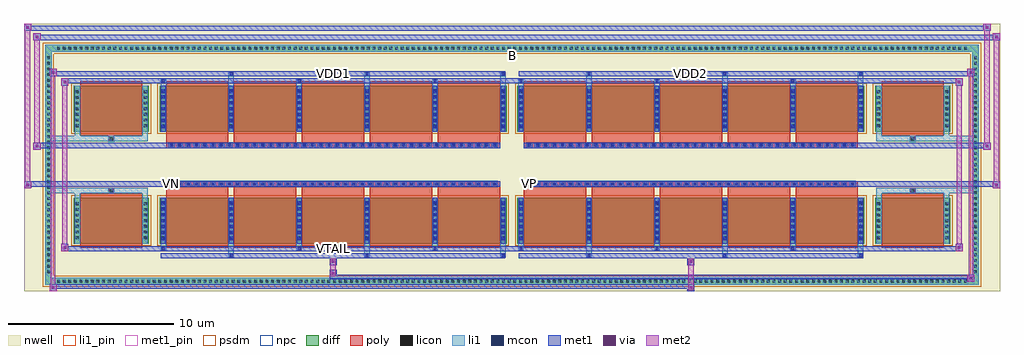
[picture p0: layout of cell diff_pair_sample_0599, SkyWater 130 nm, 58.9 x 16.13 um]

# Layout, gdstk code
import gdstk
lib = gdstk.Library(unit=1e-6, precision=5e-09)
def R(c, l, rs):  # rectangles x0, y0, x1, y1
    for r in rs: c.add(gdstk.rectangle(r[:2], r[2:], *l))
def A(c, l, x, y, w, h, nx, ny, dx, dy):  # array of equal rectangles
    R(c, l, [(x+i*dx, y+j*dy, x+i*dx+w, y+j*dy+h) for i in range(nx) for j in range(ny)])
def P(c, l, *ps):  # polygons
    for p in ps: c.add(gdstk.Polygon(p, *l))
nwell = (64, 20)
diff = (65, 20)
poly = (66, 20)
licon = (66, 44)
li1_pin = (67, 16)
li1 = (67, 20)
mcon = (67, 44)
met1_pin = (68, 16)
met1 = (68, 20)
via = (68, 44)
met2 = (69, 20)
psdm = (94, 20)
npc = (95, 20)

diff_pair_sample_0599 = lib.new_cell('diff_pair_sample_0599')
R(diff_pair_sample_0599, nwell, [(-29.45,-7.63,29.45,8.5), (-26.77,-5.82,-0.01,-0.8), (0.01,-5.82,26.77,-0.8), (-26.77,0.8,-0.01,5.82), (0.01,0.8,26.77,5.82)])
A(diff_pair_sample_0599, diff, -27.575, -7.23, 0.41, 0.41, 162, 2, 0.34, 14.05)
A(diff_pair_sample_0599, diff, -28.18, -6.665, 0.41, 0.41, 1, 39, 0, 0.34)
A(diff_pair_sample_0599, diff, 27.77, -6.665, 0.41, 0.41, 1, 39, 0, 0.34)
R(diff_pair_sample_0599, diff, [(-27.575,-7.23,27.575,-6.82), (-28.18,-6.665,-27.77,6.665), (27.77,-6.665,28.18,6.665), (-26.46,-4.775,-21.91,-1.985), (-21.27,-4.775,-0.32,-1.985), (0.32,-4.775,21.27,-1.985), (21.91,-4.775,26.46,-1.985), (-26.46,1.985,-21.91,4.775), (-21.27,1.985,-0.32,4.775), (0.32,1.985,21.27,4.775), (21.91,1.985,26.46,4.775), (-27.575,6.82,27.575,7.23)])
P(diff_pair_sample_0599, diff, [(28.18,7.23),(-28.18,7.23),(-28.18,-6.82),(-27.77,-6.82),(-27.77,6.82),(27.77,6.82),(27.77,-6.82),(-27.77,-6.82),(-28.18,-6.82),(-28.18,-7.23),(28.18,-7.23)])
A(diff_pair_sample_0599, poly, -20.88, -5.025, 3.77, 3.29, 5, 2, 4.1, 6.76)
A(diff_pair_sample_0599, poly, 0.71, -5.025, 3.77, 3.29, 5, 2, 4.1, 6.76)
A(diff_pair_sample_0599, poly, -20.88, -1.735, 3.77, 0.405, 5, 2, 4.1, 3.065)
A(diff_pair_sample_0599, poly, 0.71, -1.735, 3.77, 0.405, 5, 2, 4.1, 3.065)
A(diff_pair_sample_0599, poly, -20.71, -1.33, 0.33, 0.33, 40, 2, 0.5, 2.33)
A(diff_pair_sample_0599, poly, 0.88, -1.33, 0.33, 0.33, 40, 2, 0.5, 2.33)
R(diff_pair_sample_0599, poly, [(-26.07,-5.025,-22.3,-1.735), (22.3,-5.025,26.07,-1.735), (-24.35,-1.735,-24.02,-1.405), (-24.35,-1.735,-24.02,-1.405), (24.02,-1.735,24.35,-1.405), (24.02,-1.735,24.35,-1.405), (-20.88,-1.33,-0.71,-1), (0.71,-1.33,20.88,-1), (-20.88,1,-0.71,1.33), (0.71,1,20.88,1.33), (-24.35,1.405,-24.02,1.735), (-24.35,1.405,-24.02,1.735), (24.02,1.405,24.35,1.735), (24.02,1.405,24.35,1.735), (-26.07,1.735,-22.3,5.025), (22.3,1.735,26.07,5.025)])
A(diff_pair_sample_0599, licon, -27.455, -7.11, 0.17, 0.17, 162, 2, 0.34, 14.05)
A(diff_pair_sample_0599, licon, -28.06, -6.545, 0.17, 0.17, 1, 39, 0, 0.34)
A(diff_pair_sample_0599, licon, 27.89, -6.545, 0.17, 0.17, 1, 39, 0, 0.34)
A(diff_pair_sample_0599, licon, -26.32, -4.485, 0.17, 0.17, 1, 7, 0, 0.34)
A(diff_pair_sample_0599, licon, -22.22, -4.485, 0.17, 0.17, 1, 7, 0, 0.34)
A(diff_pair_sample_0599, licon, -21.13, -4.485, 0.17, 0.17, 6, 7, 4.1, 0.34)
A(diff_pair_sample_0599, licon, 0.46, -4.485, 0.17, 0.17, 6, 7, 4.1, 0.34)
A(diff_pair_sample_0599, licon, 22.05, -4.485, 0.17, 0.17, 1, 7, 0, 0.34)
A(diff_pair_sample_0599, licon, 26.15, -4.485, 0.17, 0.17, 1, 7, 0, 0.34)
A(diff_pair_sample_0599, licon, -20.63, -1.25, 0.17, 0.17, 40, 2, 0.5, 2.33)
A(diff_pair_sample_0599, licon, 0.96, -1.25, 0.17, 0.17, 40, 2, 0.5, 2.33)
A(diff_pair_sample_0599, licon, -26.32, 2.275, 0.17, 0.17, 1, 7, 0, 0.34)
A(diff_pair_sample_0599, licon, -22.22, 2.275, 0.17, 0.17, 1, 7, 0, 0.34)
A(diff_pair_sample_0599, licon, -21.13, 2.275, 0.17, 0.17, 6, 7, 4.1, 0.34)
A(diff_pair_sample_0599, licon, 0.46, 2.275, 0.17, 0.17, 6, 7, 4.1, 0.34)
A(diff_pair_sample_0599, licon, 22.05, 2.275, 0.17, 0.17, 1, 7, 0, 0.34)
A(diff_pair_sample_0599, licon, 26.15, 2.275, 0.17, 0.17, 1, 7, 0, 0.34)
R(diff_pair_sample_0599, licon, [(-24.27,-1.655,-24.1,-1.485), (24.1,-1.655,24.27,-1.485), (-24.27,1.485,-24.1,1.655), (24.1,1.485,24.27,1.655)])
R(diff_pair_sample_0599, li1_pin, [(-0.25,6.32,0.25,6.82)])
A(diff_pair_sample_0599, li1, -27.535, -7.19, 0.33, 0.33, 162, 2, 0.34, 14.05)
A(diff_pair_sample_0599, li1, -28.14, -6.625, 0.33, 0.33, 1, 39, 0, 0.34)
A(diff_pair_sample_0599, li1, 27.81, -6.625, 0.33, 0.33, 1, 39, 0, 0.34)
A(diff_pair_sample_0599, li1, -17.11, -5.58, 0.33, 0.805, 3, 2, 8.2, 10.355)
A(diff_pair_sample_0599, li1, -17.03, -5.58, 0.17, 0.17, 3, 2, 8.2, 10.99)
A(diff_pair_sample_0599, li1, 4.48, -5.58, 0.33, 0.805, 3, 2, 8.2, 10.355)
A(diff_pair_sample_0599, li1, 4.56, -5.58, 0.17, 0.17, 3, 2, 8.2, 10.99)
A(diff_pair_sample_0599, li1, -21.21, -5.15, 0.33, 0.375, 3, 2, 8.2, 9.925)
A(diff_pair_sample_0599, li1, -21.13, -5.15, 0.17, 0.17, 3, 2, 8.2, 10.13)
A(diff_pair_sample_0599, li1, 0.38, -5.15, 0.33, 0.375, 3, 2, 8.2, 9.925)
A(diff_pair_sample_0599, li1, 0.46, -5.15, 0.17, 0.17, 3, 2, 8.2, 10.13)
A(diff_pair_sample_0599, li1, -21.21, -4.775, 0.33, 2.79, 6, 2, 4.1, 6.76)
A(diff_pair_sample_0599, li1, 0.38, -4.775, 0.33, 2.79, 6, 2, 4.1, 6.76)
A(diff_pair_sample_0599, li1, -26.4, -4.565, 0.33, 0.33, 1, 7, 0, 0.34)
A(diff_pair_sample_0599, li1, -22.3, -4.565, 0.33, 0.33, 1, 7, 0, 0.34)
A(diff_pair_sample_0599, li1, -21.21, -4.565, 0.33, 0.33, 6, 7, 4.1, 0.34)
A(diff_pair_sample_0599, li1, 0.38, -4.565, 0.33, 0.33, 6, 7, 4.1, 0.34)
A(diff_pair_sample_0599, li1, 21.97, -4.565, 0.33, 0.33, 1, 7, 0, 0.34)
A(diff_pair_sample_0599, li1, 26.07, -4.565, 0.33, 0.33, 1, 7, 0, 0.34)
A(diff_pair_sample_0599, li1, -21.13, -4.545, 0.17, 0.17, 6, 7, 4.1, 0.36)
A(diff_pair_sample_0599, li1, -21.13, -4.545, 0.17, 2.33, 6, 2, 4.1, 6.76)
A(diff_pair_sample_0599, li1, 0.46, -4.545, 0.17, 0.17, 6, 7, 4.1, 0.36)
A(diff_pair_sample_0599, li1, 0.46, -4.545, 0.17, 2.33, 6, 2, 4.1, 6.76)
A(diff_pair_sample_0599, li1, -20.71, -1.33, 0.33, 0.33, 40, 2, 0.5, 2.33)
A(diff_pair_sample_0599, li1, 0.88, -1.33, 0.33, 0.33, 40, 2, 0.5, 2.33)
A(diff_pair_sample_0599, li1, -26.4, 2.195, 0.33, 0.33, 1, 7, 0, 0.34)
A(diff_pair_sample_0599, li1, -22.3, 2.195, 0.33, 0.33, 1, 7, 0, 0.34)
A(diff_pair_sample_0599, li1, -21.21, 2.195, 0.33, 0.33, 6, 7, 4.1, 0.34)
A(diff_pair_sample_0599, li1, 0.38, 2.195, 0.33, 0.33, 6, 7, 4.1, 0.34)
A(diff_pair_sample_0599, li1, 21.97, 2.195, 0.33, 0.33, 1, 7, 0, 0.34)
A(diff_pair_sample_0599, li1, 26.07, 2.195, 0.33, 0.33, 1, 7, 0, 0.34)
A(diff_pair_sample_0599, li1, -21.13, 2.215, 0.17, 0.17, 6, 7, 4.1, 0.36)
A(diff_pair_sample_0599, li1, 0.46, 2.215, 0.17, 0.17, 6, 7, 4.1, 0.36)
R(diff_pair_sample_0599, li1, [(-28.18,-7.23,-27.77,-6.82), (-28.18,-7.23,-27.77,-6.82), (-27.77,-7.23,27.77,-6.82), (27.77,-7.23,28.18,-6.82), (27.77,-7.23,28.18,-6.82), (-28.18,-6.82,-27.77,6.82), (27.77,-6.82,28.18,6.82), (-26.4,-4.775,-26.07,-1.985), (-22.3,-4.775,-21.97,-1.985), (21.97,-4.775,22.3,-1.985), (26.07,-4.775,26.4,-1.985), (-26.4,-1.985,-26.07,-1.405), (-22.3,-1.985,-21.97,-1.405), (21.97,-1.985,22.3,-1.405), (26.07,-1.985,26.4,-1.405), (-28.18,-1.735,-24.35,-1.405), (-26.4,-1.735,-24.35,-1.405), (-24.35,-1.735,-24.02,-1.405), (-24.02,-1.735,-21.97,-1.405), (21.97,-1.735,24.02,-1.405), (24.02,-1.735,24.35,-1.405), (24.02,-1.735,28.18,-1.405), (24.35,-1.735,26.4,-1.405), (-28.18,1.405,-24.35,1.735), (-26.4,1.405,-24.35,1.735), (-26.4,1.405,-26.07,1.985), (-24.35,1.405,-24.02,1.735), (-24.02,1.405,-21.97,1.735), (-22.3,1.405,-21.97,1.985), (21.97,1.405,24.02,1.735), (21.97,1.405,22.3,1.985), (24.02,1.405,24.35,1.735), (24.02,1.405,28.18,1.735), (24.35,1.405,26.4,1.735), (26.07,1.405,26.4,1.985), (-26.4,1.985,-26.07,4.775), (-22.3,1.985,-21.97,4.775), (21.97,1.985,22.3,4.775), (26.07,1.985,26.4,4.775), (-28.18,6.82,-27.77,7.23), (-28.18,6.82,-27.77,7.23), (-27.77,6.82,27.77,7.23), (27.77,6.82,28.18,7.23), (27.77,6.82,28.18,7.23)])
A(diff_pair_sample_0599, mcon, -17.03, -5.58, 0.17, 0.17, 3, 2, 8.2, 10.99)
A(diff_pair_sample_0599, mcon, 4.56, -5.58, 0.17, 0.17, 3, 2, 8.2, 10.99)
A(diff_pair_sample_0599, mcon, -21.13, -5.15, 0.17, 0.17, 3, 2, 8.2, 10.13)
A(diff_pair_sample_0599, mcon, 0.46, -5.15, 0.17, 0.17, 3, 2, 8.2, 10.13)
A(diff_pair_sample_0599, mcon, -21.13, -4.545, 0.17, 0.17, 6, 7, 4.1, 0.36)
A(diff_pair_sample_0599, mcon, 0.46, -4.545, 0.17, 0.17, 6, 7, 4.1, 0.36)
A(diff_pair_sample_0599, mcon, -20.63, -1.25, 0.17, 0.17, 40, 2, 0.5, 2.33)
A(diff_pair_sample_0599, mcon, 0.96, -1.25, 0.17, 0.17, 40, 2, 0.5, 2.33)
A(diff_pair_sample_0599, mcon, -21.13, 2.215, 0.17, 0.17, 6, 7, 4.1, 0.36)
A(diff_pair_sample_0599, mcon, 0.46, 2.215, 0.17, 0.17, 6, 7, 4.1, 0.36)
R(diff_pair_sample_0599, met1_pin, [(-10.93,-5.19,-10.66,-4.92), (-20.68,-1.29,-20.41,-1.02), (0.91,-1.29,1.18,-1.02), (-10.93,5.37,-10.66,5.64), (10.66,5.37,10.93,5.64)])
A(diff_pair_sample_0599, met1, -17.09, -5.64, 0.29, 0.29, 3, 2, 8.2, 10.99)
A(diff_pair_sample_0599, met1, 4.5, -5.64, 0.29, 0.29, 3, 2, 8.2, 10.99)
A(diff_pair_sample_0599, met1, -21.19, -5.21, 0.29, 0.29, 3, 2, 8.2, 10.13)
A(diff_pair_sample_0599, met1, 0.4, -5.21, 0.29, 0.29, 3, 2, 8.2, 10.13)
A(diff_pair_sample_0599, met1, -21.19, -4.775, 0.29, 2.79, 6, 2, 4.1, 6.76)
A(diff_pair_sample_0599, met1, 0.4, -4.775, 0.29, 2.79, 6, 2, 4.1, 6.76)
A(diff_pair_sample_0599, met1, -21.19, -4.605, 0.29, 0.29, 6, 7, 4.1, 0.36)
A(diff_pair_sample_0599, met1, 0.4, -4.605, 0.29, 0.29, 6, 7, 4.1, 0.36)
A(diff_pair_sample_0599, met1, -20.69, -1.31, 0.29, 0.29, 40, 2, 0.5, 2.33)
A(diff_pair_sample_0599, met1, 0.9, -1.31, 0.29, 0.29, 40, 2, 0.5, 2.33)
A(diff_pair_sample_0599, met1, -21.19, 2.155, 0.29, 0.29, 6, 7, 4.1, 0.36)
A(diff_pair_sample_0599, met1, 0.4, 2.155, 0.29, 0.29, 6, 7, 4.1, 0.36)
R(diff_pair_sample_0599, met1, [(-27.91,-7.63,-27.48,-7.2), (10.58,-7.63,11.01,-7.2), (-27.91,-7.49,11.01,-7.2), (27.48,-7.06,27.91,-6.63), (-11.01,-6.92,27.91,-6.63), (-11.01,-6.78,-10.58,-6.35), (-11.01,-6.07,-10.58,-5.64), (10.58,-6.07,11.01,-5.64), (-21.19,-5.64,-0.4,-5.35), (0.4,-5.64,21.19,-5.35), (-27.2,-5.21,-26.77,-4.78), (-27.2,-5.21,-21.19,-4.92), (-21.19,-5.21,-0.4,-4.92), (-0.4,-5.21,0.4,-4.92), (0.4,-5.21,21.19,-4.92), (21.19,-5.21,27.2,-4.92), (26.77,-5.21,27.2,-4.78), (-29.45,-1.43,-29.02,-1), (29.02,-1.43,29.45,-1), (-29.45,-1.33,-0.71,-1), (-20.88,-1.33,-0.71,-1), (0.71,-1.33,20.88,-1), (0.71,-1.33,29.45,-1), (-28.88,0.9,-28.45,1.33), (28.45,0.9,28.88,1.33), (-28.88,1,-20.88,1.33), (-20.88,1,-0.71,1.33), (0.71,1,20.88,1.33), (20.88,1,28.88,1.33), (-27.2,4.78,-26.77,5.21), (26.77,4.78,27.2,5.21), (-27.2,4.92,-21.19,5.21), (-21.19,4.92,-0.4,5.21), (-0.4,4.92,0.4,5.21), (0.4,4.92,21.19,5.21), (21.19,4.92,27.2,5.21), (-27.91,5.35,-27.48,5.78), (-27.91,5.35,-21.19,5.64), (-21.19,5.35,-0.4,5.64), (0.4,5.35,21.19,5.64), (21.19,5.35,27.91,5.64), (27.48,5.35,27.91,5.78), (-28.88,7.5,-28.45,7.93), (-28.88,7.5,-26.77,7.83), (-26.77,7.5,26.77,7.83), (26.77,7.5,29.45,7.83), (29.02,7.5,29.45,7.93), (-29.45,8.07,-29.02,8.5), (-29.45,8.07,-26.77,8.4), (-26.77,8.07,26.77,8.4), (26.77,8.07,28.88,8.4), (28.45,8.07,28.88,8.5)])
R(diff_pair_sample_0599, via, [(-27.77,-7.49,-27.62,-7.34), (10.72,-7.49,10.87,-7.34), (27.62,-6.92,27.77,-6.77), (-10.87,-6.64,-10.72,-6.49), (-10.87,-5.93,-10.72,-5.78), (10.72,-5.93,10.87,-5.78), (-27.06,-5.07,-26.91,-4.92), (26.91,-5.07,27.06,-4.92), (-29.31,-1.29,-29.16,-1.14), (29.16,-1.29,29.31,-1.14), (-28.74,1.04,-28.59,1.19), (28.59,1.04,28.74,1.19), (-27.06,4.92,-26.91,5.07), (26.91,4.92,27.06,5.07), (-27.77,5.49,-27.62,5.64), (27.62,5.49,27.77,5.64), (-28.74,7.64,-28.59,7.79), (29.16,7.64,29.31,7.79), (-29.31,8.21,-29.16,8.36), (28.59,8.21,28.74,8.36)])
R(diff_pair_sample_0599, met2, [(-27.91,-7.63,-27.48,-7.2), (-27.84,-7.63,-27.55,5.78), (-27.55,-7.63,-27.48,-7.2), (-27.86,-7.58,-27.53,-7.25), (10.63,-7.58,10.96,-7.25), (10.63,-7.25,10.96,-6.02), (27.48,-7.06,27.91,-6.63), (27.55,-7.06,27.84,5.78), (27.84,-7.06,27.91,-6.63), (27.53,-7.01,27.86,-6.68), (-10.96,-6.73,-10.63,-6.4), (-10.96,-6.4,-10.63,-6.02), (-10.96,-6.02,-10.63,-5.69), (10.63,-6.02,10.96,-5.69), (-27.2,-5.21,-26.77,-4.78), (-27.13,-5.21,-26.84,5.21), (-26.84,-5.21,-26.77,-4.78), (26.77,-5.21,27.2,-4.78), (26.84,-5.21,27.13,5.21), (27.13,-5.21,27.2,-4.78), (-27.15,-5.16,-26.82,-4.83), (26.82,-5.16,27.15,-4.83), (-29.45,-1.43,-29.02,-1), (-29.4,-1.43,-29.07,8.5), (-29.07,-1.43,-29.02,-1), (29.02,-1.43,29.45,-1), (29.07,-1.43,29.4,7.93), (29.4,-1.43,29.45,-1), (-29.4,-1.38,-29.07,-1.05), (29.07,-1.38,29.4,-1.05), (-28.88,0.9,-28.45,1.33), (-28.83,0.9,-28.5,7.93), (-28.5,0.9,-28.45,1.33), (28.45,0.9,28.88,1.33), (28.5,0.9,28.83,8.5), (28.83,0.9,28.88,1.33), (-28.83,0.95,-28.5,1.28), (28.5,0.95,28.83,1.28), (-27.2,4.78,-26.77,5.21), (-26.84,4.78,-26.77,5.21), (26.77,4.78,27.2,5.21), (27.13,4.78,27.2,5.21), (-27.15,4.83,-26.82,5.16), (26.82,4.83,27.15,5.16), (-27.91,5.35,-27.48,5.78), (-27.55,5.35,-27.48,5.78), (27.48,5.35,27.91,5.78), (27.84,5.35,27.91,5.78), (-27.86,5.4,-27.53,5.73), (27.53,5.4,27.86,5.73), (-28.88,7.5,-28.45,7.93), (-28.5,7.5,-28.45,7.93), (29.02,7.5,29.45,7.93), (29.4,7.5,29.45,7.93), (-28.83,7.55,-28.5,7.88), (29.07,7.55,29.4,7.88), (-29.45,8.07,-29.02,8.5), (-29.07,8.07,-29.02,8.5), (28.45,8.07,28.88,8.5), (28.83,8.07,28.88,8.5), (-29.4,8.12,-29.07,8.45), (28.5,8.12,28.83,8.45)])
R(diff_pair_sample_0599, psdm, [(-26.59,-4.905,-21.78,-1.855), (-21.4,-4.905,-0.19,-1.855), (0.19,-4.905,21.4,-1.855), (21.78,-4.905,26.59,-1.855), (-26.59,1.855,-21.78,4.905), (-21.4,1.855,-0.19,4.905), (0.19,1.855,21.4,4.905), (21.78,1.855,26.59,4.905)])
P(diff_pair_sample_0599, psdm, [(28.31,7.36),(-28.31,7.36),(-28.31,-6.69),(-27.64,-6.69),(-27.64,6.69),(27.64,6.69),(27.64,-6.69),(-27.64,-6.69),(-28.31,-6.69),(-28.31,-7.36),(28.31,-7.36)])
A(diff_pair_sample_0599, npc, -20.73, -1.35, 0.37, 0.37, 40, 2, 0.5, 2.33)
A(diff_pair_sample_0599, npc, 0.86, -1.35, 0.37, 0.37, 40, 2, 0.5, 2.33)
R(diff_pair_sample_0599, npc, [(-24.37,-1.755,-24,-1.385), (24,-1.755,24.37,-1.385), (-20.73,-1.35,-19.86,-0.98), (-20.73,-1.35,-19.86,-0.98), (-20.23,-1.35,-19.36,-0.98), (-20.23,-1.35,-19.36,-0.98), (-19.73,-1.35,-18.86,-0.98), (-19.73,-1.35,-18.86,-0.98), (-19.23,-1.35,-18.36,-0.98), (-19.23,-1.35,-18.36,-0.98), (-18.73,-1.35,-17.86,-0.98), (-18.73,-1.35,-17.86,-0.98), (-18.23,-1.35,-17.36,-0.98), (-18.23,-1.35,-17.36,-0.98), (-17.73,-1.35,-16.86,-0.98), (-17.73,-1.35,-16.86,-0.98), (-17.23,-1.35,-16.36,-0.98), (-17.23,-1.35,-16.36,-0.98), (-16.73,-1.35,-15.86,-0.98), (-16.73,-1.35,-15.86,-0.98), (-16.23,-1.35,-15.36,-0.98), (-16.23,-1.35,-15.36,-0.98), (-15.73,-1.35,-14.86,-0.98), (-15.73,-1.35,-14.86,-0.98), (-15.23,-1.35,-14.36,-0.98), (-15.23,-1.35,-14.36,-0.98), (-14.73,-1.35,-13.86,-0.98), (-14.73,-1.35,-13.86,-0.98), (-14.23,-1.35,-13.36,-0.98), (-14.23,-1.35,-13.36,-0.98), (-13.73,-1.35,-12.86,-0.98), (-13.73,-1.35,-12.86,-0.98), (-13.23,-1.35,-12.36,-0.98), (-13.23,-1.35,-12.36,-0.98), (-12.73,-1.35,-11.86,-0.98), (-12.73,-1.35,-11.86,-0.98), (-12.23,-1.35,-11.36,-0.98), (-12.23,-1.35,-11.36,-0.98), (-11.73,-1.35,-10.86,-0.98), (-11.73,-1.35,-10.86,-0.98), (-11.23,-1.35,-10.36,-0.98), (-11.23,-1.35,-10.36,-0.98), (-10.73,-1.35,-9.86,-0.98), (-10.73,-1.35,-9.86,-0.98), (-10.23,-1.35,-9.36,-0.98), (-10.23,-1.35,-9.36,-0.98), (-9.73,-1.35,-8.86,-0.98), (-9.73,-1.35,-8.86,-0.98), (-9.23,-1.35,-8.36,-0.98), (-9.23,-1.35,-8.36,-0.98), (-8.73,-1.35,-7.86,-0.98), (-8.73,-1.35,-7.86,-0.98), (-8.23,-1.35,-7.36,-0.98), (-8.23,-1.35,-7.36,-0.98), (-7.73,-1.35,-6.86,-0.98), (-7.73,-1.35,-6.86,-0.98), (-7.23,-1.35,-6.36,-0.98), (-7.23,-1.35,-6.36,-0.98), (-6.73,-1.35,-5.86,-0.98), (-6.73,-1.35,-5.86,-0.98), (-6.23,-1.35,-5.36,-0.98), (-6.23,-1.35,-5.36,-0.98), (-5.73,-1.35,-4.86,-0.98), (-5.73,-1.35,-4.86,-0.98), (-5.23,-1.35,-4.36,-0.98), (-5.23,-1.35,-4.36,-0.98), (-4.73,-1.35,-3.86,-0.98), (-4.73,-1.35,-3.86,-0.98), (-4.23,-1.35,-3.36,-0.98), (-4.23,-1.35,-3.36,-0.98), (-3.73,-1.35,-2.86,-0.98), (-3.73,-1.35,-2.86,-0.98), (-3.23,-1.35,-2.36,-0.98), (-3.23,-1.35,-2.36,-0.98), (-2.73,-1.35,-1.86,-0.98), (-2.73,-1.35,-1.86,-0.98), (-2.23,-1.35,-1.36,-0.98), (-2.23,-1.35,-1.36,-0.98), (-1.73,-1.35,-0.86,-0.98), (-1.73,-1.35,-0.86,-0.98), (0.86,-1.35,1.73,-0.98), (0.86,-1.35,1.73,-0.98), (1.36,-1.35,2.23,-0.98), (1.36,-1.35,2.23,-0.98), (1.86,-1.35,2.73,-0.98), (1.86,-1.35,2.73,-0.98), (2.36,-1.35,3.23,-0.98), (2.36,-1.35,3.23,-0.98), (2.86,-1.35,3.73,-0.98), (2.86,-1.35,3.73,-0.98), (3.36,-1.35,4.23,-0.98), (3.36,-1.35,4.23,-0.98), (3.86,-1.35,4.73,-0.98), (3.86,-1.35,4.73,-0.98), (4.36,-1.35,5.23,-0.98), (4.36,-1.35,5.23,-0.98), (4.86,-1.35,5.73,-0.98), (4.86,-1.35,5.73,-0.98), (5.36,-1.35,6.23,-0.98), (5.36,-1.35,6.23,-0.98), (5.86,-1.35,6.73,-0.98), (5.86,-1.35,6.73,-0.98), (6.36,-1.35,7.23,-0.98), (6.36,-1.35,7.23,-0.98), (6.86,-1.35,7.73,-0.98), (6.86,-1.35,7.73,-0.98), (7.36,-1.35,8.23,-0.98), (7.36,-1.35,8.23,-0.98), (7.86,-1.35,8.73,-0.98), (7.86,-1.35,8.73,-0.98), (8.36,-1.35,9.23,-0.98), (8.36,-1.35,9.23,-0.98), (8.86,-1.35,9.73,-0.98), (8.86,-1.35,9.73,-0.98), (9.36,-1.35,10.23,-0.98), (9.36,-1.35,10.23,-0.98), (9.86,-1.35,10.73,-0.98), (9.86,-1.35,10.73,-0.98), (10.36,-1.35,11.23,-0.98), (10.36,-1.35,11.23,-0.98), (10.86,-1.35,11.73,-0.98), (10.86,-1.35,11.73,-0.98), (11.36,-1.35,12.23,-0.98), (11.36,-1.35,12.23,-0.98), (11.86,-1.35,12.73,-0.98), (11.86,-1.35,12.73,-0.98), (12.36,-1.35,13.23,-0.98), (12.36,-1.35,13.23,-0.98), (12.86,-1.35,13.73,-0.98), (12.86,-1.35,13.73,-0.98), (13.36,-1.35,14.23,-0.98), (13.36,-1.35,14.23,-0.98), (13.86,-1.35,14.73,-0.98), (13.86,-1.35,14.73,-0.98), (14.36,-1.35,15.23,-0.98), (14.36,-1.35,15.23,-0.98), (14.86,-1.35,15.73,-0.98), (14.86,-1.35,15.73,-0.98), (15.36,-1.35,16.23,-0.98), (15.36,-1.35,16.23,-0.98), (15.86,-1.35,16.73,-0.98), (15.86,-1.35,16.73,-0.98), (16.36,-1.35,17.23,-0.98), (16.36,-1.35,17.23,-0.98), (16.86,-1.35,17.73,-0.98), (16.86,-1.35,17.73,-0.98), (17.36,-1.35,18.23,-0.98), (17.36,-1.35,18.23,-0.98), (17.86,-1.35,18.73,-0.98), (17.86,-1.35,18.73,-0.98), (18.36,-1.35,19.23,-0.98), (18.36,-1.35,19.23,-0.98), (18.86,-1.35,19.73,-0.98), (18.86,-1.35,19.73,-0.98), (19.36,-1.35,20.23,-0.98), (19.36,-1.35,20.23,-0.98), (19.86,-1.35,20.73,-0.98), (19.86,-1.35,20.73,-0.98), (-20.73,0.98,-19.86,1.35), (-20.73,0.98,-19.86,1.35), (-20.23,0.98,-19.36,1.35), (-20.23,0.98,-19.36,1.35), (-19.73,0.98,-18.86,1.35), (-19.73,0.98,-18.86,1.35), (-19.23,0.98,-18.36,1.35), (-19.23,0.98,-18.36,1.35), (-18.73,0.98,-17.86,1.35), (-18.73,0.98,-17.86,1.35), (-18.23,0.98,-17.36,1.35), (-18.23,0.98,-17.36,1.35), (-17.73,0.98,-16.86,1.35), (-17.73,0.98,-16.86,1.35), (-17.23,0.98,-16.36,1.35), (-17.23,0.98,-16.36,1.35), (-16.73,0.98,-15.86,1.35), (-16.73,0.98,-15.86,1.35), (-16.23,0.98,-15.36,1.35), (-16.23,0.98,-15.36,1.35), (-15.73,0.98,-14.86,1.35), (-15.73,0.98,-14.86,1.35), (-15.23,0.98,-14.36,1.35), (-15.23,0.98,-14.36,1.35), (-14.73,0.98,-13.86,1.35), (-14.73,0.98,-13.86,1.35), (-14.23,0.98,-13.36,1.35), (-14.23,0.98,-13.36,1.35), (-13.73,0.98,-12.86,1.35), (-13.73,0.98,-12.86,1.35), (-13.23,0.98,-12.36,1.35), (-13.23,0.98,-12.36,1.35), (-12.73,0.98,-11.86,1.35), (-12.73,0.98,-11.86,1.35), (-12.23,0.98,-11.36,1.35), (-12.23,0.98,-11.36,1.35), (-11.73,0.98,-10.86,1.35), (-11.73,0.98,-10.86,1.35), (-11.23,0.98,-10.36,1.35), (-11.23,0.98,-10.36,1.35), (-10.73,0.98,-9.86,1.35), (-10.73,0.98,-9.86,1.35), (-10.23,0.98,-9.36,1.35), (-10.23,0.98,-9.36,1.35), (-9.73,0.98,-8.86,1.35), (-9.73,0.98,-8.86,1.35), (-9.23,0.98,-8.36,1.35), (-9.23,0.98,-8.36,1.35), (-8.73,0.98,-7.86,1.35), (-8.73,0.98,-7.86,1.35), (-8.23,0.98,-7.36,1.35), (-8.23,0.98,-7.36,1.35), (-7.73,0.98,-6.86,1.35), (-7.73,0.98,-6.86,1.35), (-7.23,0.98,-6.36,1.35), (-7.23,0.98,-6.36,1.35), (-6.73,0.98,-5.86,1.35), (-6.73,0.98,-5.86,1.35), (-6.23,0.98,-5.36,1.35), (-6.23,0.98,-5.36,1.35), (-5.73,0.98,-4.86,1.35), (-5.73,0.98,-4.86,1.35), (-5.23,0.98,-4.36,1.35), (-5.23,0.98,-4.36,1.35), (-4.73,0.98,-3.86,1.35), (-4.73,0.98,-3.86,1.35), (-4.23,0.98,-3.36,1.35), (-4.23,0.98,-3.36,1.35), (-3.73,0.98,-2.86,1.35), (-3.73,0.98,-2.86,1.35), (-3.23,0.98,-2.36,1.35), (-3.23,0.98,-2.36,1.35), (-2.73,0.98,-1.86,1.35), (-2.73,0.98,-1.86,1.35), (-2.23,0.98,-1.36,1.35), (-2.23,0.98,-1.36,1.35), (-1.73,0.98,-0.86,1.35), (-1.73,0.98,-0.86,1.35), (0.86,0.98,1.73,1.35), (0.86,0.98,1.73,1.35), (1.36,0.98,2.23,1.35), (1.36,0.98,2.23,1.35), (1.86,0.98,2.73,1.35), (1.86,0.98,2.73,1.35), (2.36,0.98,3.23,1.35), (2.36,0.98,3.23,1.35), (2.86,0.98,3.73,1.35), (2.86,0.98,3.73,1.35), (3.36,0.98,4.23,1.35), (3.36,0.98,4.23,1.35), (3.86,0.98,4.73,1.35), (3.86,0.98,4.73,1.35), (4.36,0.98,5.23,1.35), (4.36,0.98,5.23,1.35), (4.86,0.98,5.73,1.35), (4.86,0.98,5.73,1.35), (5.36,0.98,6.23,1.35), (5.36,0.98,6.23,1.35), (5.86,0.98,6.73,1.35), (5.86,0.98,6.73,1.35), (6.36,0.98,7.23,1.35), (6.36,0.98,7.23,1.35), (6.86,0.98,7.73,1.35), (6.86,0.98,7.73,1.35), (7.36,0.98,8.23,1.35), (7.36,0.98,8.23,1.35), (7.86,0.98,8.73,1.35), (7.86,0.98,8.73,1.35), (8.36,0.98,9.23,1.35), (8.36,0.98,9.23,1.35), (8.86,0.98,9.73,1.35), (8.86,0.98,9.73,1.35), (9.36,0.98,10.23,1.35), (9.36,0.98,10.23,1.35), (9.86,0.98,10.73,1.35), (9.86,0.98,10.73,1.35), (10.36,0.98,11.23,1.35), (10.36,0.98,11.23,1.35), (10.86,0.98,11.73,1.35), (10.86,0.98,11.73,1.35), (11.36,0.98,12.23,1.35), (11.36,0.98,12.23,1.35), (11.86,0.98,12.73,1.35), (11.86,0.98,12.73,1.35), (12.36,0.98,13.23,1.35), (12.36,0.98,13.23,1.35), (12.86,0.98,13.73,1.35), (12.86,0.98,13.73,1.35), (13.36,0.98,14.23,1.35), (13.36,0.98,14.23,1.35), (13.86,0.98,14.73,1.35), (13.86,0.98,14.73,1.35), (14.36,0.98,15.23,1.35), (14.36,0.98,15.23,1.35), (14.86,0.98,15.73,1.35), (14.86,0.98,15.73,1.35), (15.36,0.98,16.23,1.35), (15.36,0.98,16.23,1.35), (15.86,0.98,16.73,1.35), (15.86,0.98,16.73,1.35), (16.36,0.98,17.23,1.35), (16.36,0.98,17.23,1.35), (16.86,0.98,17.73,1.35), (16.86,0.98,17.73,1.35), (17.36,0.98,18.23,1.35), (17.36,0.98,18.23,1.35), (17.86,0.98,18.73,1.35), (17.86,0.98,18.73,1.35), (18.36,0.98,19.23,1.35), (18.36,0.98,19.23,1.35), (18.86,0.98,19.73,1.35), (18.86,0.98,19.73,1.35), (19.36,0.98,20.23,1.35), (19.36,0.98,20.23,1.35), (19.86,0.98,20.73,1.35), (19.86,0.98,20.73,1.35), (-24.37,1.385,-24,1.755), (24,1.385,24.37,1.755)])
diff_pair_sample_0599.add(gdstk.Label('VTAIL', (-10.795,-5.055), layer=68, texttype=5))
diff_pair_sample_0599.add(gdstk.Label('VN', (-20.545,-1.155), layer=68, texttype=5))
diff_pair_sample_0599.add(gdstk.Label('VP', (1.045,-1.155), layer=68, texttype=5))
diff_pair_sample_0599.add(gdstk.Label('B', (0,6.57), layer=67, texttype=5))
diff_pair_sample_0599.add(gdstk.Label('VDD2', (10.795,5.505), layer=68, texttype=5))
diff_pair_sample_0599.add(gdstk.Label('VDD1', (-10.795,5.505), layer=68, texttype=5))

lib.write_gds('diff_pair_sample_0599.gds')
